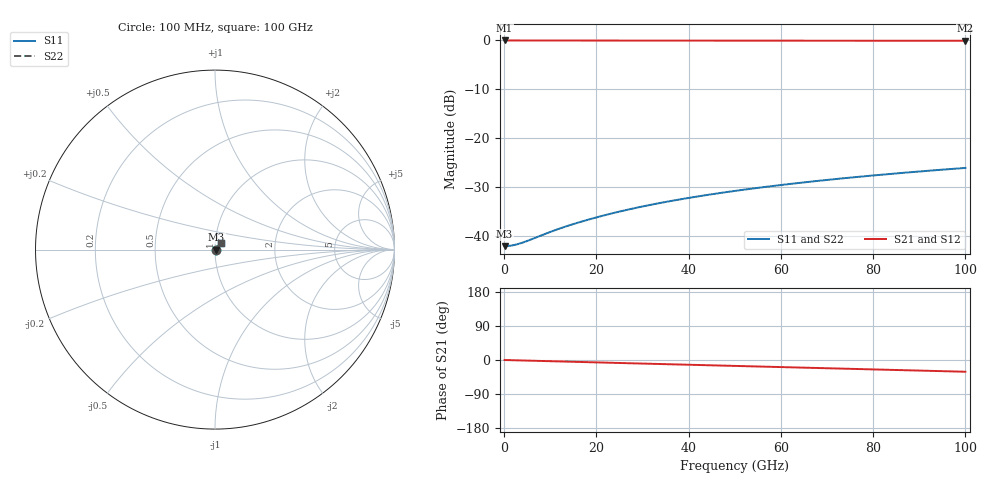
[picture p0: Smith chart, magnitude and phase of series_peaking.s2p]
#  Hz  S  RI  R  50
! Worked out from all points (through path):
!   1000 points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, 100 MHz to 100 GHz, reference 50 ohm
!   highest |S21| = -0.07 dB at 100 MHz (marker M1); lowest = -0.1 dB at 100 GHz (marker M2)
!   group delay of S21, straight-line fit = 859 fs
!   lowest |S11| = -42.0 dB at 100 MHz (marker M3), VSWR 1.02, Z = 50.8 + j0.00696 ohm
!   |S11| at or under -10 dB: start of sweep to end of sweep
!   |S22| runs from -42.0 to -26.1 dB; largest |S21 - S12| = 0.00013
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1e8  0.00795 6.85e-05  0.9921 -0.000563  0.9921 -0.000562  0.00795 6.83e-05
9e8  0.00796 0.000616  0.992 -0.00506  0.992 -0.00506  0.00796 0.000614
1.8e9  0.008 0.00123  0.992 -0.0101  0.992 -0.0101  0.00801 0.00122
2.7e9  0.00807 0.00183  0.9918 -0.0152  0.9918 -0.0152  0.00807 0.00182
3.6e9  0.00817 0.00242  0.9917 -0.0202  0.9917 -0.0202  0.00817 0.00241
5.1e9  0.00837 0.00337  0.9913 -0.0285  0.9913 -0.0285  0.00837 0.00336
9e9  0.00905 0.00562  0.9899 -0.0499  0.9899 -0.0499  0.00905 0.00558
1.13e10  0.0095 0.00681  0.9889 -0.0623  0.9889 -0.0624  0.00949 0.00676
1.39e10  0.01 0.00808  0.9877 -0.0763  0.9876 -0.0763  0.00999 0.00801
1.68e10  0.0106 0.00943  0.986 -0.0919  0.986 -0.0919  0.0105 0.00935
2.07e10  0.0113 0.0112  0.9835 -0.1128  0.9835 -0.1128  0.0113 0.0111
2.48e10  0.0122 0.013  0.9803 -0.1346  0.9803 -0.1346  0.0122 0.0128
2.9e10  0.0132 0.0147  0.9765 -0.1568  0.9765 -0.1568  0.0131 0.0146
3.34e10  0.0142 0.0164  0.9722 -0.1799  0.9722 -0.1799  0.0141 0.0163
4.13e10  0.0162 0.0193  0.963 -0.221  0.963 -0.221  0.0161 0.0192
5.01e10  0.0186 0.0223  0.9508 -0.2662  0.9508 -0.2662  0.0184 0.0222
5.8e10  0.021 0.0248  0.9382 -0.3062  0.9381 -0.3062  0.0207 0.0247
6.67e10  0.0238 0.0273  0.9223 -0.3496  0.9222 -0.3495  0.0234 0.0272
7.47e10  0.0265 0.0294  0.906 -0.3887  0.9059 -0.3886  0.0261 0.0293
8.34e10  0.0296 0.0314  0.8864 -0.4304  0.8864 -0.4304  0.0291 0.0313
9.23e10  0.033 0.0332  0.8645 -0.4719  0.8644 -0.4719  0.0324 0.0331
1e11  0.036 0.0345  0.8439 -0.507  0.8439 -0.5069  0.0353 0.0344
